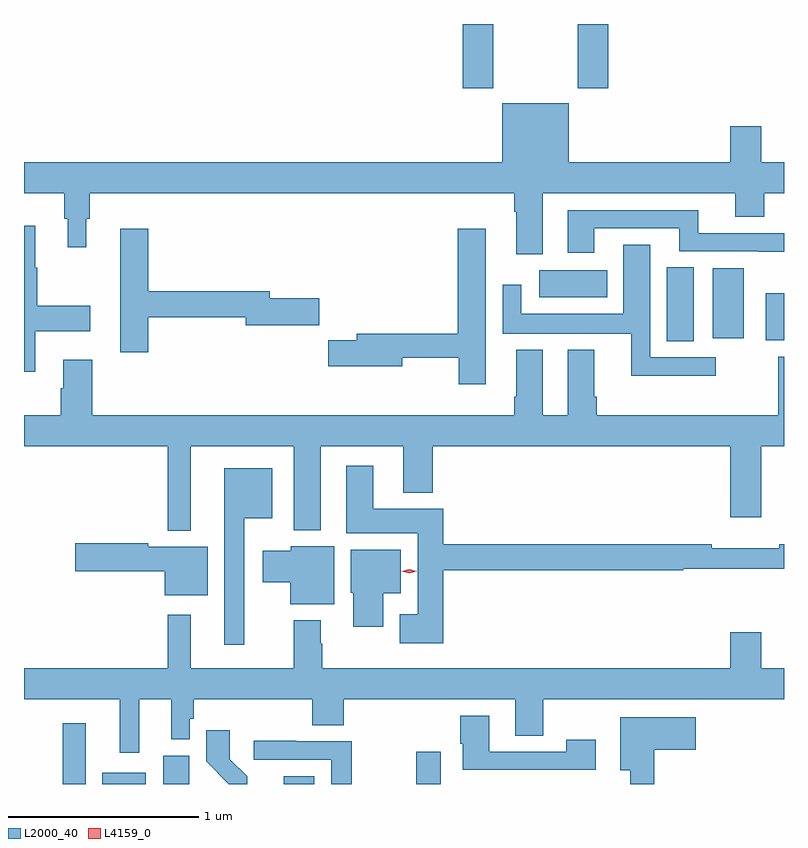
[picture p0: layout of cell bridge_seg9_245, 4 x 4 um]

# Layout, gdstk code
import gdstk
lib = gdstk.Library(unit=1e-6, precision=1e-09)
def R(c, l, rs):  # rectangles x0, y0, x1, y1
    for r in rs: c.add(gdstk.rectangle(r[:2], r[2:], *l))
def P(c, l, *ps):  # polygons
    for p in ps: c.add(gdstk.Polygon(p, *l))
L2000_40 = (2000, 40)
L4159_0 = (4159, 0)

bridge_seg9_245 = lib.new_cell('bridge_seg9_245')
R(bridge_seg9_245, L2000_40, [(245.412,1186.651,245.533,1186.972), (245.621,1186.651,245.848,1186.711), (245.942,1186.651,246.079,1186.801), (246.575,1186.651,246.736,1186.693), (247.273,1186.651,247.402,1186.822), (248.591,1188.982,248.734,1189.37), (249.113,1188.986,249.208,1189.234), (248.834,1188.996,248.995,1189.366), (247.92,1189.214,248.278,1189.354), (247.517,1190.313,247.677,1190.651), (248.122,1190.313,248.282,1190.651)])
P(bridge_seg9_245, L2000_40, [(248.924,1190.113),(248.924,1189.924),(248.074,1189.924),(248.074,1190.233),(247.724,1190.233),(247.724,1189.924),(245.208,1189.924),(245.208,1189.76),(245.419,1189.76),(245.419,1189.626),(245.438,1189.626),(245.438,1189.476),(245.536,1189.476),(245.536,1189.626),(245.555,1189.626),(245.555,1189.76),(247.787,1189.76),(247.787,1189.664),(247.799,1189.664),(247.799,1189.44),(247.939,1189.44),(247.939,1189.76),(248.951,1189.76),(248.951,1189.636),(249.104,1189.636),(249.104,1189.76),(249.208,1189.76),(249.208,1189.924),(249.088,1189.924),(249.088,1190.113)],
  [(248.209,1189.575),(248.657,1189.575),(248.657,1189.455),(249.073,1189.455),(249.073,1189.453),(249.208,1189.453),(249.208,1189.551),(248.756,1189.551),(248.756,1189.671),(248.069,1189.671),(248.069,1189.446),(248.209,1189.446)],
  [(245.266,1189.034),(245.557,1189.034),(245.557,1189.169),(245.278,1189.169),(245.278,1189.368),(245.266,1189.368),(245.266,1189.588),(245.208,1189.588),(245.208,1188.822),(245.266,1188.822)],
  [(245.861,1189.108),(246.374,1189.108),(246.374,1189.066),(246.763,1189.066),(246.763,1189.208),(246.502,1189.208),(246.502,1189.244),(245.861,1189.244),(245.861,1189.573),(245.714,1189.573),(245.714,1188.924),(245.861,1188.924)],
  [(247.639,1189.573),(247.49,1189.573),(247.49,1189.022),(246.959,1189.022),(246.959,1188.986),(246.81,1188.986),(246.81,1188.851),(247.198,1188.851),(247.198,1188.894),(247.495,1188.894),(247.495,1188.756),(247.639,1188.756)],
  [(248.848,1188.897),(248.503,1188.897),(248.503,1189.49),(248.363,1189.49),(248.363,1189.126),(247.824,1189.126),(247.824,1189.279),(247.728,1189.279),(247.728,1189.022),(248.405,1189.022),(248.405,1188.8),(248.848,1188.8)],
  [(245.567,1188.883),(245.414,1188.883),(245.414,1188.734),(245.402,1188.734),(245.402,1188.592),(245.208,1188.592),(245.208,1188.428),(245.964,1188.428),(245.964,1187.984),(246.085,1187.984),(246.085,1188.428),(246.629,1188.428),(246.629,1187.987),(246.769,1187.987),(246.769,1188.428),(247.205,1188.428),(247.205,1188.185),(247.358,1188.185),(247.358,1188.428),(248.924,1188.428),(248.924,1188.054),(249.088,1188.054),(249.088,1188.428),(249.208,1188.428),(249.208,1188.901),(249.178,1188.901),(249.178,1188.592),(248.222,1188.592),(248.222,1188.688),(248.209,1188.688),(248.209,1188.937),(248.069,1188.937),(248.069,1188.592),(247.939,1188.592),(247.939,1188.937),(247.799,1188.937),(247.799,1188.688),(247.787,1188.688),(247.787,1188.592),(245.567,1188.592)],
  [(247.415,1187.776),(248.679,1187.776),(248.679,1187.784),(249.208,1187.784),(249.208,1187.912),(249.184,1187.912),(249.184,1187.893),(248.828,1187.893),(248.828,1187.912),(247.415,1187.912),(247.415,1188.1),(247.045,1188.1),(247.045,1188.325),(246.905,1188.325),(246.905,1187.972),(247.28,1187.972),(247.28,1187.545),(247.185,1187.545),(247.185,1187.393),(247.415,1187.393)],
  [(246.367,1188.05),(246.514,1188.05),(246.514,1188.313),(246.263,1188.313),(246.263,1187.385),(246.367,1187.385)],
  [(246.175,1187.899),(245.862,1187.899),(245.862,1187.918),(245.478,1187.918),(245.478,1187.771),(245.948,1187.771),(245.948,1187.645),(246.175,1187.645)],
  [(246.841,1187.902),(246.612,1187.902),(246.612,1187.878),(246.465,1187.878),(246.465,1187.713),(246.608,1187.713),(246.608,1187.597),(246.841,1187.597)],
  [(247.099,1187.654),(247.192,1187.654),(247.192,1187.884),(246.929,1187.884),(246.929,1187.658),(246.941,1187.658),(246.941,1187.478),(247.099,1187.478)],
  [(245.815,1187.096),(245.984,1187.096),(245.984,1186.886),(246.081,1186.886),(246.081,1186.995),(246.101,1186.995),(246.101,1187.096),(246.725,1187.096),(246.725,1186.96),(246.89,1186.96),(246.89,1187.096),(247.793,1187.096),(247.793,1186.906),(247.941,1186.906),(247.941,1187.096),(249.208,1187.096),(249.208,1187.26),(249.088,1187.26),(249.088,1187.449),(248.924,1187.449),(248.924,1187.26),(246.777,1187.26),(246.777,1187.39),(246.769,1187.39),(246.769,1187.512),(246.629,1187.512),(246.629,1187.26),(246.085,1187.26),(246.085,1187.542),(245.964,1187.542),(245.964,1187.26),(245.208,1187.26),(245.208,1187.096),(245.711,1187.096),(245.711,1186.815),(245.815,1186.815)],
  [(248.218,1186.885),(248.062,1186.885),(248.062,1186.821),(247.657,1186.821),(247.657,1187.011),(247.505,1187.011),(247.505,1186.863),(247.517,1186.863),(247.517,1186.725),(248.218,1186.725)],
  [(248.525,1186.832),(248.743,1186.832),(248.743,1187.002),(248.345,1187.002),(248.345,1186.724),(248.399,1186.724),(248.399,1186.651),(248.525,1186.651)],
  [(246.382,1186.691),(246.292,1186.781),(246.292,1186.933),(246.166,1186.933),(246.166,1186.77),(246.285,1186.651),(246.382,1186.651)],
  [(246.934,1186.875),(246.641,1186.875),(246.641,1186.878),(246.417,1186.878),(246.417,1186.779),(246.825,1186.779),(246.825,1186.651),(246.934,1186.651)])
P(bridge_seg9_245, L4159_0, [(247.237,1187.761),(247.197,1187.77),(247.197,1187.77),(247.197,1187.771),(247.236,1187.781),(247.276,1187.771),(247.276,1187.771),(247.276,1187.771)])

lib.write_gds('bridge_seg9_245.gds')
